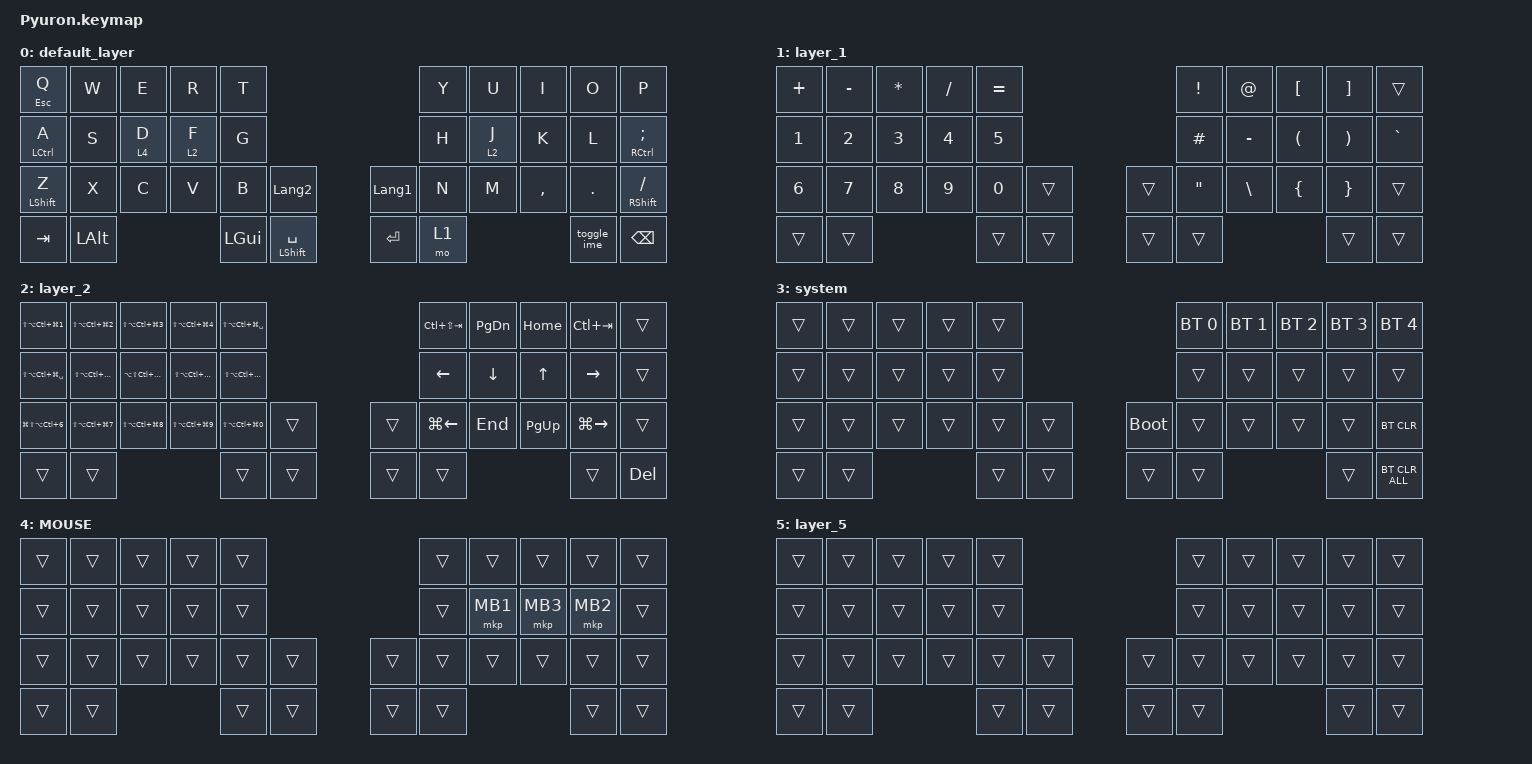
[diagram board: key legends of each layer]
#include <behaviors.dtsi>
#include <dt-bindings/zmk/bt.h>
#include <dt-bindings/zmk/keys.h>
#include <dt-bindings/zmk/pointing.h>

#define MOUSE 6

&mt {
    flavor = "balanced";
    quick-tap-ms = <0>;
};

/ {
    combos {
        compatible = "zmk,combos";

        system {
            bindings = <&mo 3>;
            key-positions = <4 0>;
        };
    };

    macros {
        to_layer_0: to_layer_0 {
            compatible = "zmk,behavior-macro-one-param";
            #binding-cells = <1>;
            bindings = <&to 0 &macro_param_1to1 &kp MACRO_PLACEHOLDER>;
            label = "TO_LAYER_0";
        };

        toggle_ime: toggle_ime {
            compatible = "zmk,behavior-macro";
            #binding-cells = <0>;
            bindings =
                <&macro_press>,
                <&kp LCTRL>,
                <&macro_tap>,
                <&kp SPACE>,
                <&macro_release>,
                <&kp LCTRL>;

            label = "TOGGLE_IME";
        };
    };

    lt_to_layer_0: lt_to_layer_0 {
        compatible = "zmk,behavior-hold-tap";
        label = "LAYER_TAP_TO_0";
        bindings = <&mo>, <&to_layer_0>;

        #binding-cells = <2>;
        tapping-term-ms = <200>;
    };
};

/ {
    behaviors {
    };

    keymap {
        compatible = "zmk,keymap";

        default_layer {
            bindings = <
&mt ESCAPE Q      &kp W                  &kp E   &kp R         &kp T         &kp Y                 &kp U           &kp I  &kp O        &kp P
&mt LCTRL A       &kp S                  &lt 4 D &lt 2 F       &kp G         &kp H                 &lt 2 J         &kp K  &kp L        &mt RCTRL SEMICOLON
&mt LEFT_SHIFT Z  &kp X                  &kp C   &kp V         &kp B         &kp LANGUAGE_2        &kp LANGUAGE_1  &kp N  &kp M        &kp COMMA
&kp DOT           &mt RIGHT_SHIFT SLASH  &kp TAB  &kp LEFT_ALT  &kp LEFT_GUI  &mt LEFT_SHIFT SPACE  &kp ENTER       &mo 1  &toggle_ime  &kp BACKSPACE
            >;
        };

        layer_1 {
            bindings = <
&kp PLUS         &kp MINUS     &kp ASTERISK  &kp SLASH     &kp EQUAL     &kp EXCLAMATION  &kp AT     &kp LEFT_BRACKET      &kp RIGHT_BRACKET      &trans
&kp NUMBER_1     &kp NUMBER_2  &kp NUMBER_3  &kp NUMBER_4  &kp NUMBER_5  &kp HASH         &kp MINUS  &kp LEFT_PARENTHESIS  &kp RIGHT_PARENTHESIS  &kp GRAVE
&kp NUMBER_6     &kp NUMBER_7  &kp NUMBER_8  &kp NUMBER_9  &kp NUMBER_0  &trans           &trans     &kp DOUBLE_QUOTES     &kp BACKSLASH          &kp LEFT_BRACE
&kp RIGHT_BRACE  &trans        &trans        &trans        &trans        &trans           &trans     &trans                &trans                 &trans
            >;
        };

        layer_2 {
            bindings = <
&kp LS(LA(LC(LG(NUMBER_1))))  &kp LS(LA(LC(LG(NUMBER_2))))  &kp LS(LA(LC(LG(NUMBER_3))))    &kp LS(LA(LC(LG(NUMBER_4))))  &kp LS(LA(LC(LG(SPACE))))     &kp LC(LS(TAB))  &kp PAGE_DOWN  &kp HOME            &kp LC(TAB)      &trans
&kp LS(LA(LC(LG(SPACE))))     &kp LS(LA(LC(LG(LEFT))))      &kp LA(LS(LC(LG(DOWN_ARROW))))  &kp LS(LA(LC(LG(UP_ARROW))))  &kp LS(LA(LC(LG(RIGHT))))     &kp LEFT         &kp DOWN       &kp UP_ARROW        &kp RIGHT_ARROW  &trans
&kp LG(LS(LA(LC(NUMBER_6))))  &kp LS(LA(LC(LG(NUMBER_7))))  &kp LS(LA(LC(LG(NUMBER_8))))    &kp LS(LA(LC(LG(N9))))        &kp LS(LA(LC(LG(NUMBER_0))))  &trans           &trans         &kp LG(LEFT_ARROW)  &kp END          &kp PAGE_UP
&kp LG(RIGHT_ARROW)           &trans                        &trans                          &trans                        &trans                        &trans           &trans         &trans              &trans           &kp DELETE
            >;
        };

        system {
            bindings = <
&trans  &trans      &trans  &trans  &trans  &bt BT_SEL 0  &bt BT_SEL 1  &bt BT_SEL 2  &bt BT_SEL 3  &bt BT_SEL 4
&trans  &trans      &trans  &trans  &trans  &trans        &trans        &trans        &trans        &trans
&trans  &trans      &trans  &trans  &trans  &trans        &bootloader   &trans        &trans        &trans
&trans  &bt BT_CLR  &trans  &trans  &trans  &trans        &trans        &trans        &trans        &bt BT_CLR_ALL
            >;
        };

        MOUSE {
            bindings = <
&trans  &trans  &trans  &trans  &trans  &trans  &trans    &trans    &trans    &trans
&trans  &trans  &trans  &trans  &trans  &trans  &mkp MB1  &mkp MB3  &mkp MB2  &trans
&trans  &trans  &trans  &trans  &trans  &trans  &trans    &trans    &trans    &trans
&trans  &trans  &trans  &trans  &trans  &trans  &trans    &trans    &trans    &trans
            >;
        };

        layer_5 {
            bindings = <
&trans  &trans  &trans  &trans  &trans  &trans  &trans  &trans  &trans  &trans
&trans  &trans  &trans  &trans  &trans  &trans  &trans  &trans  &trans  &trans
&trans  &trans  &trans  &trans  &trans  &trans  &trans  &trans  &trans  &trans
&trans  &trans  &trans  &trans  &trans  &trans  &trans  &trans  &trans  &trans
            >;
        };
    };
};
